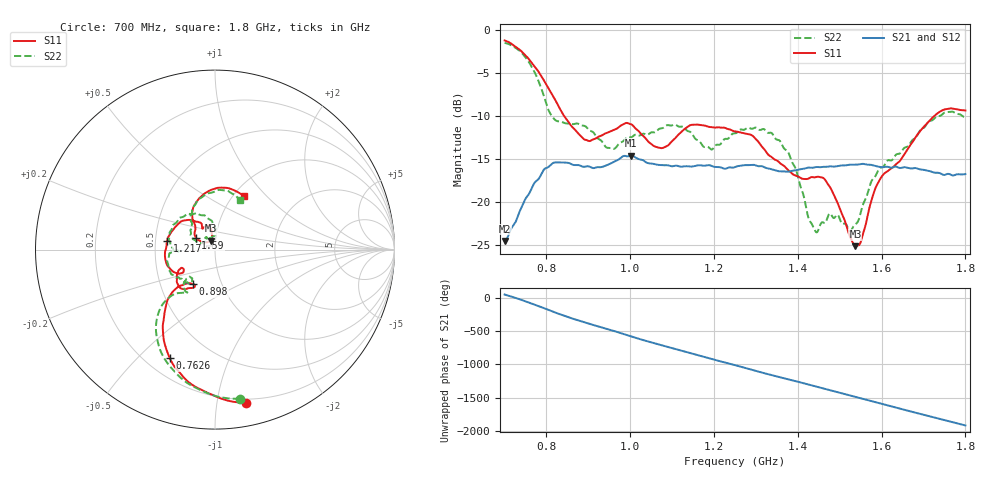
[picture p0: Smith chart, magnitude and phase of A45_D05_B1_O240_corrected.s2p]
! Created with skrf 1.9.0 (http://scikit-rf.org).
# Hz S RI R 50.0
!freq ReS11 ImS11 ReS21 ImS21 ReS12 ImS12 ReS22 ImS22
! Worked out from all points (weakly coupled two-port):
!   1601 points, 700 MHz to 1.8 GHz, reference 50 ohm
!   highest |S21| = -14.59 dB at 1.002 GHz (marker M1); lowest = -24.5 dB at 700 MHz (marker M2)
!   lowest |S11| = -25.1 dB at 1.537 GHz (marker M3), VSWR 1.12, Z = 47.4 + j4.74 ohm
!   |S11| at or under -10 dB: 842.1 MHz to 1.726 GHz (883.5 MHz wide, 68.8 % of centre)
!   |S22| runs from -23.5 to -1.5 dB; largest |S21 - S12| = 0.0035
!   S11 on the Smith chart (normalised r, x): 700 MHz: 0.17, -1.21; 762.6 MHz: 0.30, -0.63; 898 MHz: 0.73, -0.30; 1.217 GHz: 0.58, +0.06; 1.59 GHz: 0.80, +0.11; 1.8 GHz: 1.12, +0.76
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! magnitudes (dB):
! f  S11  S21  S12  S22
! 700 MHz  -1.2  -24.5  -24.3  -1.5
! 762.6 MHz  -3.7  -18.6  -18.6  -4.1
! 816.2 MHz  -7.7  -15.5  -15.5  -10.2
! 883.6 MHz  -12.4  -15.8  -15.7  -11.1
! 898 MHz  -12.8  -15.8  -15.9  -11.4
! 947.5 MHz  -11.9  -15.6  -15.7  -13.7
! 1.002 GHz  -11.0  -14.6  -14.7  -12.5
! 1.067 GHz  -13.7  -15.7  -15.6  -11.6
! 1.145 GHz  -11.0  -15.9  -15.9  -11.9
! 1.178 GHz  -11.1  -15.8  -15.7  -13.6
! 1.217 GHz  -11.4  -16.0  -16.0  -13.2
! 1.25 GHz  -11.8  -15.9  -15.9  -12.0
! 1.357 GHz  -15.5  -16.4  -16.4  -12.9
! 1.394 GHz  -16.9  -16.3  -16.3  -16.1
! 1.434 GHz  -17.1  -16.0  -16.0  -22.6
! 1.474 GHz  -18.1  -15.9  -15.9  -21.4
! 1.537 GHz  -25.1  -15.7  -15.6  -22.6
! 1.551 GHz  -24.5  -15.6  -15.6  -21.1
! 1.59 GHz  -17.9  -15.9  -15.8  -16.6
! 1.617 GHz  -16.3  -15.9  -15.9  -15.1
! 1.733 GHz  -9.7  -16.6  -16.6  -10.0
! 1.8 GHz  -9.4  -16.8  -16.7  -10.1
